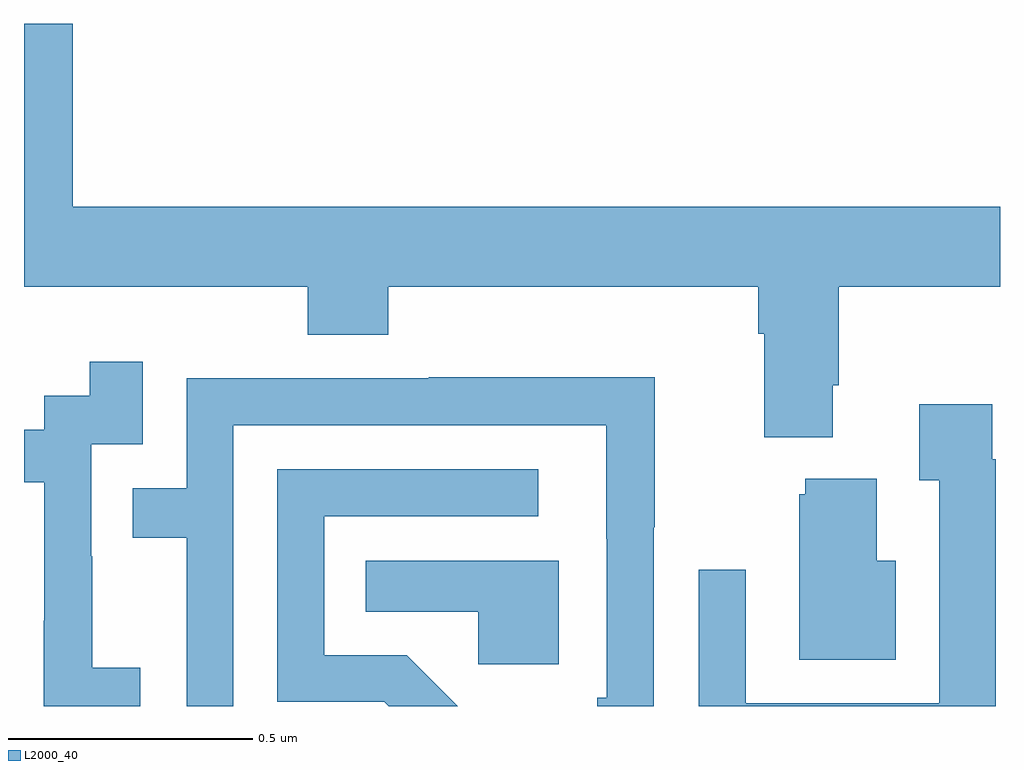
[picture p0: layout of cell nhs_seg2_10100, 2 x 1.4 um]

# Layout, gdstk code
import gdstk
lib = gdstk.Library(unit=1e-6, precision=1e-09)
def P(c, l, *ps):  # polygons
    for p in ps: c.add(gdstk.Polygon(p, *l))
L2000_40 = (2000, 40)

nhs_seg2_10100 = lib.new_cell('nhs_seg2_10100')
P(nhs_seg2_10100, L2000_40, [(238.657,623.458),(238.67,623.458),(238.67,623.66),(239,623.66),(239,623.824),(237.1,623.824),(237.1,624.199),(237,624.199),(237,623.66),(237.581,623.66),(237.581,623.561),(237.746,623.561),(237.746,623.66),(238.505,623.66),(238.505,623.564),(238.517,623.564),(238.517,623.351),(238.657,623.351)],
  [(237.238,622.879),(237.14,622.879),(237.14,623.108),(237.138,623.108),(237.138,623.337),(237.243,623.337),(237.243,623.506),(237.135,623.506),(237.135,623.436),(237.042,623.436),(237.042,623.367),(237,623.367),(237,623.259),(237.041,623.259),(237.041,622.975),(237.04,622.975),(237.04,622.8),(237.238,622.8)],
  [(237.429,623.376),(238.193,623.376),(238.193,623.143),(238.194,623.143),(238.194,622.818),(238.175,622.818),(238.175,622.8),(238.29,622.8),(238.29,623.167),(238.293,623.167),(238.293,623.474),(237.829,623.474),(237.829,623.472),(237.333,623.472),(237.333,623.247),(237.223,623.247),(237.223,623.146),(237.333,623.146),(237.333,622.8),(237.429,622.8)],
  [(238.991,623.306),(238.984,623.306),(238.984,623.419),(238.835,623.419),(238.835,623.263),(238.875,623.263),(238.875,622.806),(238.479,622.806),(238.479,623.08),(238.383,623.08),(238.383,622.8),(238.991,622.8)],
  [(237.784,622.905),(237.615,622.905),(237.615,623.19),(238.054,623.19),(238.054,623.286),(237.519,623.286),(237.519,622.809),(237.738,622.809),(237.747,622.8),(237.889,622.8)],
  [(238.786,623.098),(238.747,623.098),(238.747,623.266),(238.601,623.266),(238.601,623.235),(238.589,623.235),(238.589,622.895),(238.786,622.895)],
  [(238.096,623.098),(237.7,623.098),(237.7,622.994),(237.931,622.994),(237.931,622.886),(238.096,622.886)])

lib.write_gds('nhs_seg2_10100.gds')
